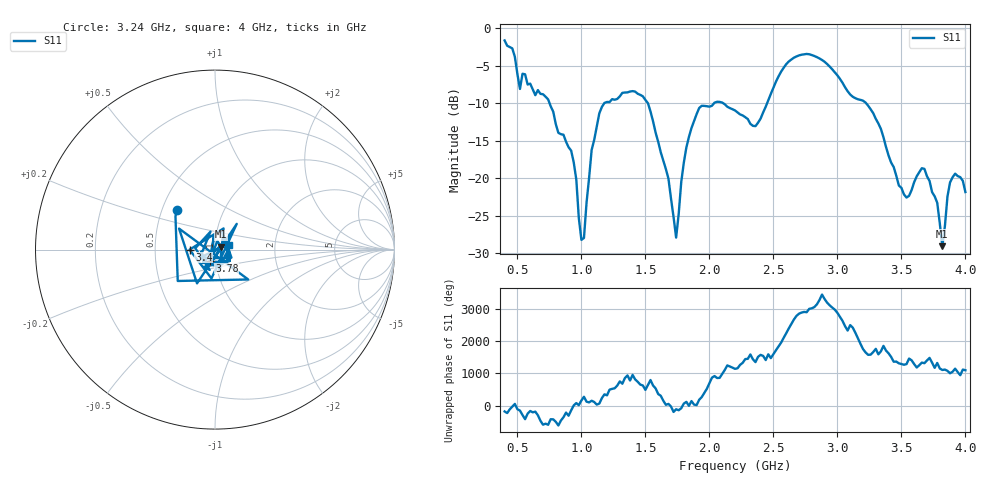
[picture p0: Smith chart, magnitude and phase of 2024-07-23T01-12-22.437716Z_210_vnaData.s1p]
!Created with skrf (http://scikit-rf.org).
# Hz S RI R 50.0
!freq ReS11 ImS11
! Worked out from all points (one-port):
!   181 points, 400 MHz to 4 GHz, reference 50 ohm
!   lowest |S11| = -29.0 dB at 3.82 GHz (marker M1), VSWR 1.07, Z = 53.2 + j1.74 ohm
!   |S11| at or under -10 dB: 751.2 MHz to 1.178 GHz (427.2 MHz wide, 44.3 % of centre); 1.52 GHz to 2.036 GHz (516.2 MHz wide, 29 % of centre); 3.224 GHz to end of sweep (the widest 3 of 4)
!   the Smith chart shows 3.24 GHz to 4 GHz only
!   S11 on the Smith chart (normalised r, x): 3.24 GHz: 0.60, +0.29; 3.4 GHz: 0.75, -0.00; 3.78 GHz: 0.93, -0.12; 4 GHz: 1.16, +0.07
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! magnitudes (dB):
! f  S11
! 400 MHz  -1.6
! 520 MHz  -8.1
! 560 MHz  -6.1
! 860 MHz  -14.2
! 940 MHz  -17.9
! 1 GHz  -28.2
! 1.02 GHz  -27.9
! 1.08 GHz  -16.2
! 1.14 GHz  -11.3
! 1.3 GHz  -9.1
! 1.52 GHz  -10.0
! 1.68 GHz  -20.0
! 1.74 GHz  -27.9
! 1.76 GHz  -24.8
! 1.82 GHz  -15.9
! 1.92 GHz  -10.6
! 2.2 GHz  -11.0
! 2.36 GHz  -13.0
! 2.66 GHz  -3.9
! 3.1 GHz  -8.8
! 3.24 GHz  -10.3
! 3.4 GHz  -17.0
! 3.56 GHz  -22.3
! 3.66 GHz  -18.6
! 3.78 GHz  -23.2
! 3.82 GHz  -29.0
! 3.88 GHz  -20.6
! 4 GHz  -21.8
